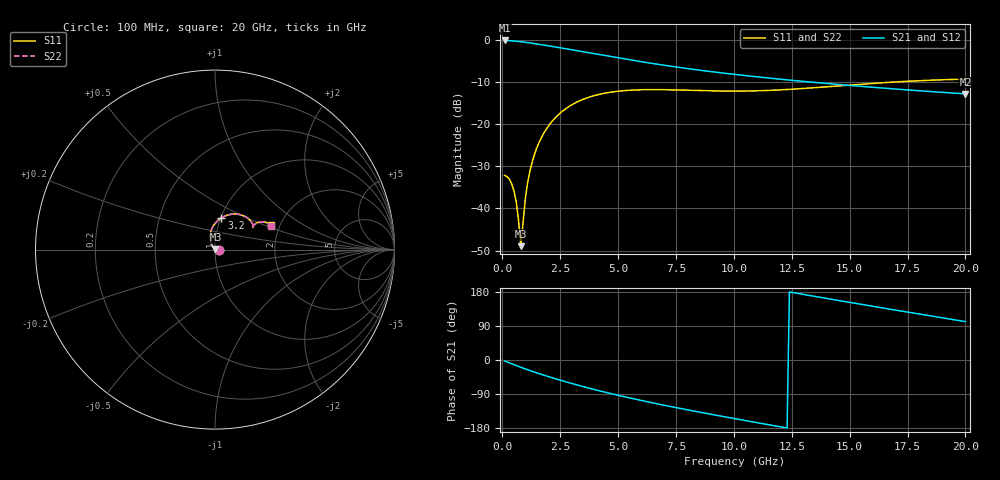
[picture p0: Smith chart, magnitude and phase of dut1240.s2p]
! Touchstone file exported from HFSS 2024.1.0
!  File:  C:/UserFiles/LocalFiles/RDL_TSV_Batchsim/temp_RDL_TSV_1240_1780267113.aedt
!  Generated:  06:55:30 AM Jun  1, 2026
!  Design:  RDL_TSV
!  Project:  temp_RDL_TSV_1240_1780267113
!  Setup:  Setup1
!  Solution:  Sweep
! Variables:
!  dtsv = 14.54um
!  hbump = 3um
!  htsv = 83.55um
!  ldown = 681.39um
!  lrdl = 386.1um
!  p = 40
!  p1 = 58.78um
!  rhole = 10um
!  subl = 3588.57um
!  t = 450um
!  tdown = 2.2um
!  trdl = 3.24um
!  viad = 10um
!  wdown = 17.13um
!  wrdl = 28.6um
!  xbump = 18um
# GHz S MA R 50.000000
! Terminal data exported
! Port[1] = TM1_1_T1
! Port[2] = TM1_4_T1
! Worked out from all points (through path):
!   200 points, 100 MHz to 20 GHz, reference 50 ohm
!   highest |S21| = -0.23 dB at 100 MHz (marker M1); lowest = -12.9 dB at 20 GHz (marker M2)
!   group delay of S21, straight-line fit = 33.6 ps
!   lowest |S11| = -49.0 dB at 800 MHz (marker M3), VSWR 1.01, Z = 50.2 + j0.268 ohm
!   |S11| at or under -10 dB: start of sweep to 17.16 GHz
!   |S22| runs from -49.0 to -9.4 dB; largest |S21 - S12| = 9e-15
!   S11 on the Smith chart (normalised r, x): 100 MHz: 1.05, -0.00; 3.2 GHz: 1.01, +0.37; 20 GHz: 1.80, +0.55
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0.1  0.02458 -1.4  0.9744 -2.5  0.9744 -2.5  0.02458 -1.4
! Gamma 0 0 0 0
! Port Impedance 50 0 50 0
0.3  0.02223 -5.5  0.9688 -7.5  0.9688 -7.5  0.02223 -5.5
0.5  0.01629 -9.1  0.9597 -12.3  0.9597 -12.3  0.0163 -9.1
0.6  0.01206 -8.3  0.9541 -14.6  0.9541 -14.6  0.01207 -8.4
0.7  0.007284 -0.2  0.9479 -16.9  0.9479 -16.9  0.007303 -0.4
0.8  0.003561 48.6  0.9412 -19.2  0.9412 -19.2  0.003559 48.0
1  0.01336 124.5  0.9264 -23.7  0.9264 -23.7  0.01331 124.4
1.1  0.02058 126.3  0.9185 -25.9  0.9185 -25.9  0.02052 126.3
1.3  0.03621 123.7  0.9019 -30.1  0.9019 -30.1  0.03614 123.7
1.5  0.05277 118.9  0.8848 -34.2  0.8848 -34.2  0.05267 118.9
1.8  0.07819 110.9  0.8586 -40.2  0.8586 -40.2  0.07807 110.9
2.2  0.1113 100.6  0.8236 -47.8  0.8236 -47.8  0.1111 100.6
2.7  0.1488 88.9  0.7808 -56.8  0.7808 -56.8  0.1486 88.9
3.2  0.1803 78.7  0.7393 -65.4  0.7393 -65.4  0.1801 78.7
3.5  0.1962 73.2  0.7152 -70.3  0.7152 -70.3  0.1959 73.1
5.1  0.2455 50.7  0.5998 -94.5  0.5998 -94.5  0.2452 50.7
6.8  0.2548 37.1  0.5043 -117.0  0.5043 -117.0  0.2546 37.0
8.3  0.2492 31.5  0.441 -135.0  0.441 -135.0  0.2491 31.4
10.1  0.2446 30.4  0.384 -155.5  0.384 -155.5  0.2444 30.2
13.4  0.2677 32.6  0.3118 168.8  0.3118 168.8  0.2671 32.4
16.7  0.3109 29.9  0.2624 134.5  0.2624 134.5  0.3099 29.6
20  0.3393 23.5  0.2271 101.4  0.2271 101.4  0.3379 23.3
